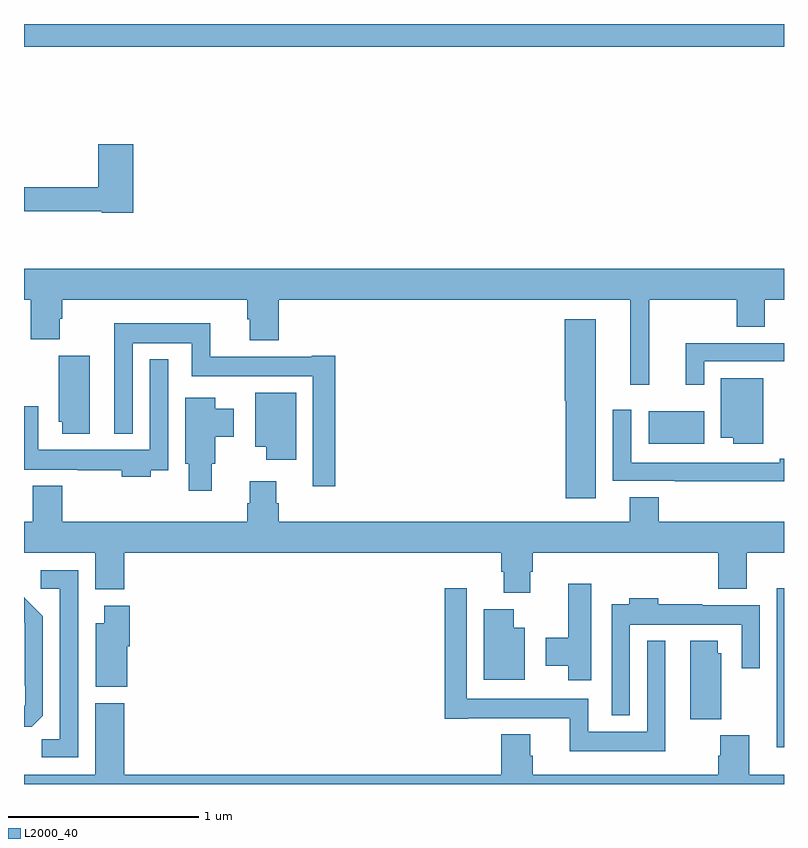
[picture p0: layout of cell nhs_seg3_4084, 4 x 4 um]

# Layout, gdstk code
import gdstk
lib = gdstk.Library(unit=1e-6, precision=1e-09)
def R(c, l, rs):  # rectangles x0, y0, x1, y1
    for r in rs: c.add(gdstk.rectangle(r[:2], r[2:], *l))
def P(c, l, *ps):  # polygons
    for p in ps: c.add(gdstk.Polygon(p, *l))
L2000_40 = (2000, 40)

nhs_seg3_4084 = lib.new_cell('nhs_seg3_4084')
R(nhs_seg3_4084, L2000_40, [(330.287,668.192,330.58,668.362), (327,670.28,331,670.4)])
P(nhs_seg3_4084, L2000_40, [(327.575,669.766),(327.392,669.766),(327.392,669.542),(327,669.542),(327,669.414),(327.408,669.414),(327.408,669.406),(327.575,669.406)],
  [(330.29,668.948),(330.751,668.948),(330.751,668.806),(330.898,668.806),(330.898,668.948),(331,668.948),(331,669.112),(327,669.112),(327,668.948),(327.035,668.948),(327.035,668.74),(327.187,668.74),(327.187,668.849),(327.2,668.849),(327.2,668.948),(328.175,668.948),(328.175,668.847),(328.187,668.847),(328.187,668.735),(328.34,668.735),(328.34,668.948),(330.191,668.948),(330.191,668.502),(330.29,668.502)],
  [(330.01,668.845),(329.846,668.845),(329.846,668.418),(329.852,668.418),(329.852,667.905),(330.01,667.905)],
  [(328.637,668.653),(328.514,668.653),(328.514,668.65),(327.98,668.65),(327.98,668.824),(327.476,668.824),(327.476,668.243),(327.573,668.243),(327.573,668.72),(327.882,668.72),(327.882,668.546),(328.521,668.546),(328.521,667.968),(328.637,667.968)],
  [(330.579,668.625),(331,668.625),(331,668.721),(330.482,668.721),(330.482,668.502),(330.579,668.502)],
  [(327.346,668.655),(327.182,668.655),(327.182,668.307),(327.2,668.307),(327.2,668.244),(327.346,668.244)],
  [(327.667,668.052),(327.759,668.052),(327.759,668.635),(327.663,668.635),(327.663,668.158),(327.075,668.158),(327.075,668.389),(327,668.389),(327,668.054),(327.283,668.054),(327.283,668.052),(327.515,668.052),(327.515,668.018),(327.667,668.018)],
  [(330.892,668.536),(330.668,668.536),(330.668,668.222),(330.734,668.222),(330.734,668.192),(330.892,668.192)],
  [(328.432,668.458),(328.217,668.458),(328.217,668.174),(328.274,668.174),(328.274,668.106),(328.432,668.106)],
  [(327.988,668.085),(328.006,668.085),(328.006,668.227),(328.105,668.227),(328.105,668.374),(328.006,668.374),(328.006,668.434),(327.848,668.434),(327.848,668.085),(327.866,668.085),(327.866,667.944),(327.988,667.944)],
  [(331,668.111),(330.977,668.111),(330.977,668.091),(330.195,668.091),(330.195,668.371),(330.099,668.371),(330.099,667.995),(330.424,667.995),(330.424,667.994),(331,667.994)],
  [(328.187,667.993),(328.187,667.878),(328.175,667.878),(328.175,667.78),(327.2,667.78),(327.2,667.969),(327.047,667.969),(327.047,667.78),(327,667.78),(327,667.616),(327.374,667.616),(327.374,667.424),(327.527,667.424),(327.527,667.616),(329.513,667.616),(329.513,667.518),(329.525,667.518),(329.525,667.406),(329.665,667.406),(329.665,667.518),(329.678,667.518),(329.678,667.616),(330.653,667.616),(330.653,667.427),(330.805,667.427),(330.805,667.616),(331,667.616),(331,667.78),(330.341,667.78),(330.341,667.91),(330.188,667.91),(330.188,667.78),(328.34,667.78),(328.34,667.878),(328.327,667.878),(328.327,667.993)],
  [(327.285,667.524),(327.087,667.524),(327.087,667.428),(327.189,667.428),(327.189,666.635),(327.094,666.635),(327.094,666.54),(327.285,666.54)],
  [(329.986,667.453),(329.864,667.453),(329.864,667.17),(329.747,667.17),(329.747,667.022),(329.864,667.022),(329.864,666.945),(329.986,666.945)],
  [(331,667.429),(330.963,667.429),(330.963,666.977),(330.962,666.977),(330.962,666.594),(331,666.594)],
  [(330.376,667.153),(330.279,667.153),(330.279,666.676),(329.97,666.676),(329.97,666.85),(329.331,666.85),(329.331,667.429),(329.215,667.429),(329.215,666.744),(329.338,666.744),(329.338,666.746),(329.873,666.746),(329.873,666.572),(330.376,666.572)],
  [(327.099,666.76),(327.099,667.282),(327.007,667.375),(327,667.382),(327,667.248),(327.003,667.245),(327.003,666.916),(327.006,666.916),(327.006,666.816),(327,666.81),(327,666.701),(327.04,666.701)],
  [(330.189,667.238),(330.777,667.238),(330.777,667.008),(330.873,667.008),(330.873,667.342),(330.569,667.342),(330.569,667.345),(330.338,667.345),(330.338,667.378),(330.185,667.378),(330.185,667.345),(330.093,667.345),(330.093,666.761),(330.189,666.761)],
  [(327.544,667.125),(327.557,667.125),(327.557,667.339),(327.422,667.339),(327.422,667.246),(327.377,667.246),(327.377,666.911),(327.544,666.911)],
  [(329.635,667.222),(329.578,667.222),(329.578,667.321),(329.42,667.321),(329.42,666.95),(329.635,666.95)],
  [(330.67,667.089),(330.652,667.089),(330.652,667.153),(330.506,667.153),(330.506,666.742),(330.67,666.742)],
  [(327.527,666.826),(327.374,666.826),(327.374,666.448),(327,666.448),(327,666.4),(331,666.4),(331,666.448),(330.818,666.448),(330.818,666.657),(330.665,666.657),(330.665,666.548),(330.653,666.548),(330.653,666.448),(329.678,666.448),(329.678,666.549),(329.665,666.549),(329.665,666.661),(329.513,666.661),(329.513,666.448),(327.527,666.448)])

lib.write_gds('nhs_seg3_4084.gds')
